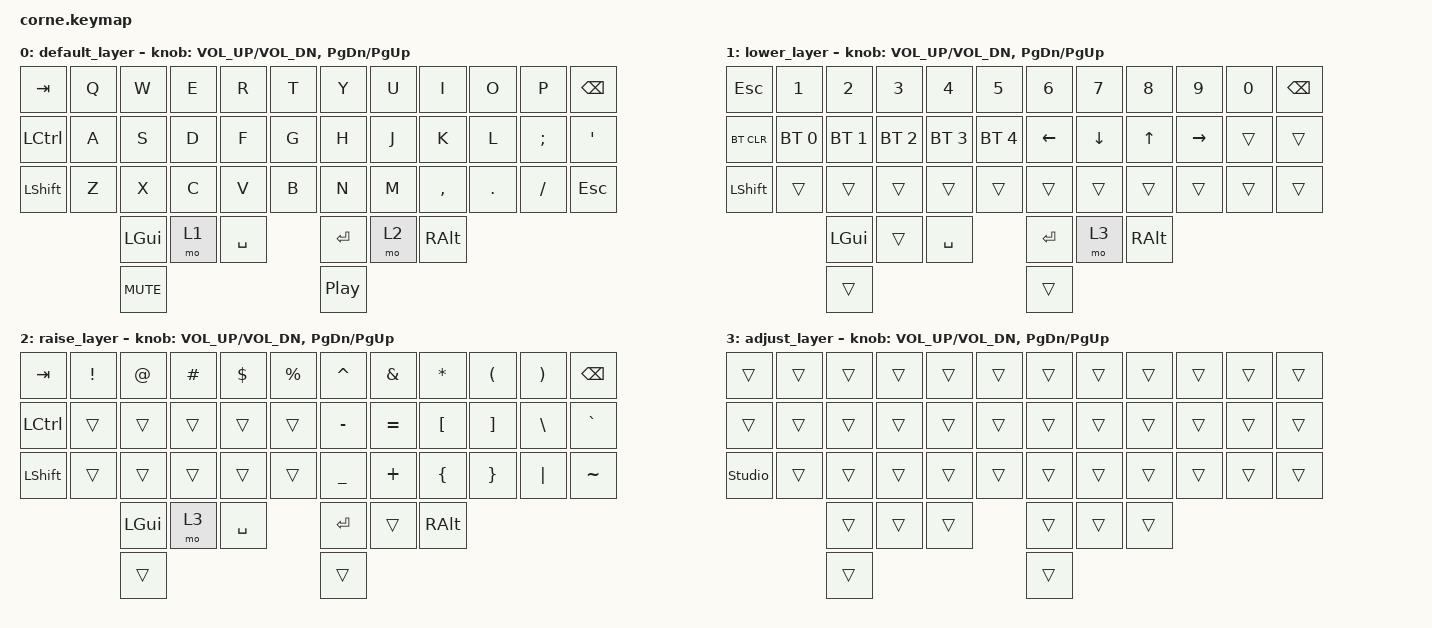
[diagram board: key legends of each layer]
#include <behaviors.dtsi>
#include <dt-bindings/zmk/keys.h>
#include <dt-bindings/zmk/bt.h>
#include <dt-bindings/zmk/outputs.h>

/ {
    keymap {
        compatible = "zmk,keymap";

        default_layer {
            // -----------------------------------------------------------------------------------------
            // |  TAB |  Q  |  W  |  E  |  R  |  T  |   |  Y  |  U   |  I  |  O  |  P  | BKSP |
            // | CTRL |  A  |  S  |  D  |  F  |  G  |   |  H  |  J   |  K  |  L  |  ;  |  '   |
            // | SHFT |  Z  |  X  |  C  |  V  |  B  |   |  N  |  M   |  ,  |  .  |  /  | ESC  |
            //                    | GUI | LWR | SPC |   | ENT | RSE  | ALT |
            //                    | Left Click (E6)  |   | Right Click (F7) |
            bindings = <
                &kp TAB   &kp Q &kp W &kp E &kp R &kp T     &kp Y &kp U  &kp I     &kp O   &kp P    &kp BSPC
                &kp LCTRL &kp A &kp S &kp D &kp F &kp G     &kp H &kp J  &kp K     &kp L   &kp SEMI &kp SQT
                &kp LSHFT &kp Z &kp X &kp C &kp V &kp B     &kp N &kp M  &kp COMMA &kp DOT &kp FSLH &kp ESC
                                &kp LGUI &mo 1 &kp SPACE    &kp RET &mo 2 &kp RALT
                                &kp C_MUTE                  &kp C_PP
            >;

            sensor-bindings = <&inc_dec_kp C_VOL_UP C_VOL_DN &inc_dec_kp PG_DN PG_UP>;
        };

        lower_layer {
            bindings = <
                &kp ESC    &kp N1       &kp N2       &kp N3       &kp N4       &kp N5         &kp N6   &kp N7   &kp N8 &kp N9    &kp N0 &kp BSPC
                &bt BT_CLR &bt BT_SEL 0 &bt BT_SEL 1 &bt BT_SEL 2 &bt BT_SEL 3 &bt BT_SEL 4   &kp LEFT &kp DOWN &kp UP &kp RIGHT &trans &trans
                &kp LSHFT  &trans       &trans       &trans       &trans       &trans         &trans   &trans   &trans &trans    &trans &trans
                                                     &kp LGUI     &trans       &kp SPACE      &kp RET  &mo 3    &kp RALT
                                                     &trans                    &trans
            >;

            sensor-bindings = <&inc_dec_kp C_VOL_UP C_VOL_DN &inc_dec_kp PG_DN PG_UP>;
        };

        raise_layer {
            bindings = <
                &kp  TAB  &kp EXCL &kp AT &kp HASH &kp DLLR &kp PRCNT   &kp CARET &kp AMPS  &kp ASTRK &kp LPAR &kp RPAR &kp BSPC
                &kp LCTRL &trans   &trans &trans   &trans   &trans      &kp MINUS &kp EQUAL &kp LBKT  &kp RBKT &kp BSLH &kp GRAVE
                &kp LSHFT &trans   &trans &trans   &trans   &trans      &kp UNDER &kp PLUS  &kp LBRC  &kp RBRC &kp PIPE &kp TILDE
                                          &kp LGUI &mo 3    &kp SPACE   &kp RET   &trans    &kp RALT
                                          &trans                        &trans
            >;

            sensor-bindings = <&inc_dec_kp C_VOL_UP C_VOL_DN &inc_dec_kp PG_DN PG_UP>;
        };

        adjust_layer {
            bindings = <
                &trans          &trans &trans &trans &trans &trans   &trans &trans &trans &trans &trans &trans
                &trans          &trans &trans &trans &trans &trans   &trans &trans &trans &trans &trans &trans
                &studio_unlock  &trans &trans &trans &trans &trans   &trans &trans &trans &trans &trans &trans
                                              &trans &trans &trans   &trans &trans &trans
                                              &trans                 &trans
            >;

            sensor-bindings = <&inc_dec_kp C_VOL_UP C_VOL_DN &inc_dec_kp PG_DN PG_UP>;
        };
    };
};
